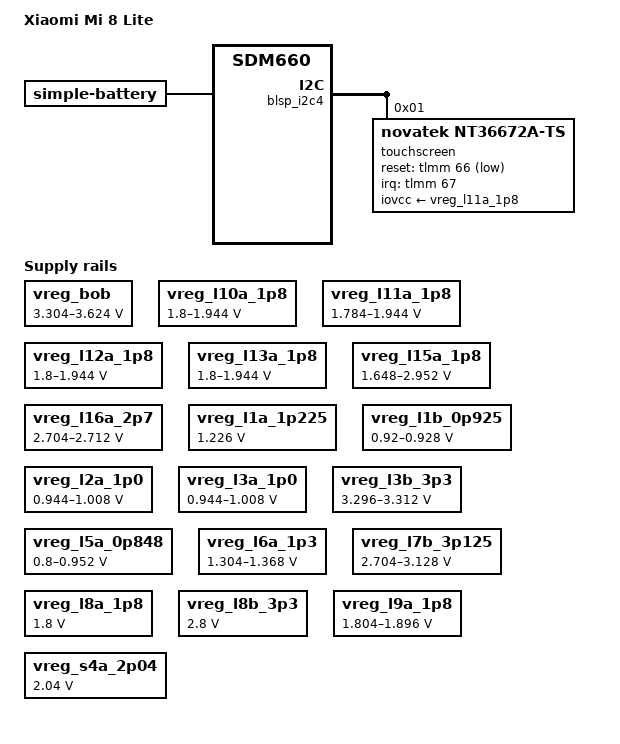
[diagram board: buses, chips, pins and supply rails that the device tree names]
// SPDX-License-Identifier: GPL-2.0-only
/*
 * Copyright (c) 2021, AngeloGioacchino Del Regno
 *                     <angelogioacchino.delregno@somainline.org>
 * Copyright (c) 2022, Molly Sophia <mollysophia379@gmail.com>
 */

/dts-v1/;

#include "sdm660.dtsi"
#include "sdm660-xiaomi-common.dtsi"
#include <dt-bindings/gpio/gpio.h>

/ {
	model = "Xiaomi Mi 8 Lite";
	compatible = "xiaomi,platina", "qcom,sdm660";
	chassis-type = "handset";

	battery: battery {
		compatible = "simple-battery";
		charge-full-design-microamp-hours = <3350000>;
		voltage-min-design-microvolt = <3400000>;
		voltage-max-design-microvolt = <4400000>;
	};

	reserved-memory {
		/* Delete common ramoops - platina uses different address and settings */
		/delete-node/ ramoops@a0000000;

		ramoops@ffc00000 {
			compatible = "ramoops";
			reg = <0x0 0xffc00000 0x0 0x100000>;
			record-size = <0x10000>;
			console-size = <0x60000>;
			ftrace-size = <0x10000>;
			pmsg-size = <0x20000>;
			ecc-size = <16>;
		};
	};
};

&blsp2_uart1 {
	status = "disabled";
};

&blsp_i2c4 {
	status = "okay";

	touchscreen@1 {
		compatible = "novatek,nt36672a-ts";
		reg = <0x1>;
		iovcc-supply = <&vreg_l11a_1p8>;
		interrupts-extended = <&tlmm 67 IRQ_TYPE_EDGE_FALLING>;
		pinctrl-0 = <&ts_int_active &ts_rst_n>;
		pinctrl-names = "default";
		reset-gpios = <&tlmm 66 GPIO_ACTIVE_LOW>;
		touchscreen-size-x = <1080>;
		touchscreen-size-y = <2280>;
	};
};

&framebuffer_mem {
	reg = <0x0 0x9d400000 0x0 0x964b00>;
};

&framebuffer0 {
	width = <1080>;
	height = <2280>;
	stride = <(1080 * 4)>;

	status = "okay";
};

&pm660_charger {
	status = "disabled";
	monitored-battery = <&battery>;
};

&pm660l_wled {
	status = "disabled";
};

/*
 * Override sdhc_1 from common: platina uses mmc-ddr-1_8v instead of mmc-hs200-1_8v
 */
&sdhc_1 {
	/delete-property/ mmc-hs200-1_8v;
	mmc-ddr-1_8v;
};

&tlmm {
	gpio-reserved-ranges = <8 4>; /* Fingerprint SPI */

	/* Override common pinctrl for platina-specific settings */
	gpio_hall_sensor_default: gpio-hall-sensor-default-state {
		pins = "gpio75";
		function = "gpio";
		drive-strength = <2>;
		/delete-property/ bias-pull-up;
		bias-disable;
		output-disable;
	};

	ts_rst_n: ts-rst-n-state {
		pins = "gpio66";
		function = "gpio";
		bias-disable;
		drive-strength = <8>;
	};

	ts_int_active: ts-int-active-state {
		pins = "gpio67";
		function = "gpio";
		drive-strength = <16>;
		bias-pull-up;
	};
};

&vreg_bob {
	regulator-min-microvolt = <3304000>;
	regulator-max-microvolt = <3624000>;
};

&vreg_l10a_1p8 {
	regulator-min-microvolt = <1800000>;
	regulator-max-microvolt = <1944000>;
};

&vreg_l11a_1p8 {
	regulator-min-microvolt = <1784000>;
	regulator-max-microvolt = <1944000>;
};

&vreg_l12a_1p8 {
	regulator-min-microvolt = <1800000>;
	regulator-max-microvolt = <1944000>;
};

&vreg_l13a_1p8 {
	regulator-min-microvolt = <1800000>;
	regulator-max-microvolt = <1944000>;
};

&vreg_l14a_1p8 {
	regulator-max-microvolt = <1952000>;
};

&vreg_l15a_1p8 {
	regulator-min-microvolt = <1648000>;
	regulator-max-microvolt = <2952000>;
};

&vreg_l16a_2p7 {
	regulator-min-microvolt = <2704000>;
	regulator-max-microvolt = <2712000>;
};

&vreg_l19a_3p3 {
	regulator-max-microvolt = <3328000>;
};

&vreg_l1a_1p225 {
	regulator-min-microvolt = <1226000>;
};

&vreg_l1b_0p925 {
	regulator-min-microvolt = <920000>;
	regulator-max-microvolt = <928000>;
};

&vreg_l2a_1p0 {
	regulator-min-microvolt = <944000>;
	regulator-max-microvolt = <1008000>;
};

&vreg_l2b_2p95 {
	/* Keep the maximum below 2.7V to disable unsupported 3.3V signaling. */
	regulator-max-microvolt = <2696000>;
};

&vreg_l3a_1p0 {
	regulator-min-microvolt = <944000>;
	regulator-max-microvolt = <1008000>;
};

&vreg_l3b_3p3 {
	regulator-min-microvolt = <3296000>;
	regulator-max-microvolt = <3312000>;
	regulator-min-microamp = <200>;
	regulator-max-microamp = <600000>;
	regulator-system-load = <100000>;
};

&vreg_l5a_0p848 {
	regulator-min-microvolt = <800000>;
	regulator-max-microvolt = <952000>;
};

&vreg_l5b_2p95 {
	regulator-system-load = <800000>;
};

&vreg_l6a_1p3 {
	regulator-min-microvolt = <1304000>;
	regulator-max-microvolt = <1368000>;
};

&vreg_l7b_3p125 {
	regulator-min-microvolt = <2704000>;
	regulator-max-microvolt = <3128000>;
};

&vreg_l8a_1p8 {
	regulator-min-microvolt = <1800000>;
};

&vreg_l8b_3p3 {
	regulator-min-microvolt = <2800000>;
};

&vreg_l9a_1p8 {
	regulator-min-microvolt = <1804000>;
	regulator-max-microvolt = <1896000>;
};

&vreg_s4a_2p04 {
	regulator-min-microvolt = <2040000>;
};

&wifi {
	status = "disabled";
};
